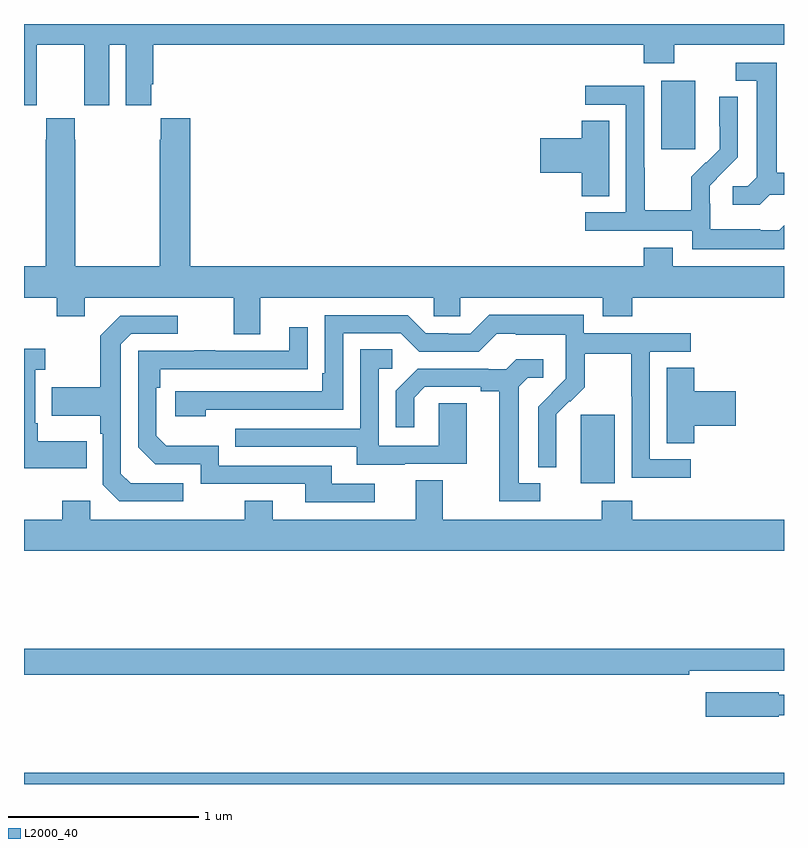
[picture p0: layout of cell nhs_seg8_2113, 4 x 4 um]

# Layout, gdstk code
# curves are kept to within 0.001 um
import gdstk
lib = gdstk.Library(unit=1e-6, precision=1e-09)
def R(c, l, rs):  # rectangles x0, y0, x1, y1
    for r in rs: c.add(gdstk.rectangle(r[:2], r[2:], *l))
def P(c, l, *ps):  # polygons
    for p in ps: c.add(gdstk.Polygon(p, *l))
L2000_40 = (2000, 40)

nhs_seg8_2113 = lib.new_cell('nhs_seg8_2113')
R(nhs_seg8_2113, L2000_40, [(243,1153.9,247,1153.96), (245.93,1155.482,246.109,1155.843), (246.353,1157.241,246.532,1157.602)])
P(nhs_seg8_2113, L2000_40, [(243.066,1157.584),(243.067,1157.584),(243.067,1157.792),(243.317,1157.792),(243.317,1157.584),(243.318,1157.584),(243.318,1157.472),(243.448,1157.472),(243.448,1157.792),(243.536,1157.792),(243.536,1157.472),(243.67,1157.472),(243.67,1157.584),(243.68,1157.584),(243.68,1157.792),(246.263,1157.792),(246.263,1157.693),(246.423,1157.693),(246.423,1157.792),(247,1157.792),(247,1157.9),(243,1157.9),(243,1157.472),(243.066,1157.472)],
  [(246.924,1157.001),(247,1157.001),(247,1157.117),(246.961,1157.117),(246.961,1157.697),(246.747,1157.697),(246.747,1157.601),(246.857,1157.601),(246.857,1157.093),(246.81,1157.046),(246.729,1157.046),(246.729,1156.949),(246.872,1156.949)],
  [(247,1156.84),(246.975,1156.815),(246.875,1156.815),(246.875,1156.819),(246.612,1156.819),(246.612,1156.953),(246.61,1156.953),(246.61,1157.05),(246.756,1157.198),(246.756,1157.516),(246.66,1157.516),(246.66,1157.362),(246.662,1157.362),(246.662,1157.24),(246.591,1157.169),(246.588,1157.172),(246.511,1157.095),(246.511,1156.921),(246.267,1156.921),(246.267,1157.144),(246.264,1157.144),(246.264,1157.574),(245.955,1157.574),(245.955,1157.475),(246.168,1157.475),(246.168,1156.908),(245.955,1156.908),(245.955,1156.812),(246.516,1156.812),(246.516,1156.715),(247,1156.715)],
  [(244.243,1156.46),(245.157,1156.46),(245.157,1156.362),(245.295,1156.362),(245.295,1156.46),(246.047,1156.46),(246.047,1156.361),(246.2,1156.361),(246.2,1156.46),(247,1156.46),(247,1156.624),(246.415,1156.624),(246.415,1156.723),(246.263,1156.723),(246.263,1156.624),(243.875,1156.624),(243.875,1157.404),(243.721,1157.404),(243.721,1157.291),(243.715,1157.291),(243.715,1156.624),(243.27,1156.624),(243.27,1157.291),(243.267,1157.291),(243.267,1157.404),(243.117,1157.404),(243.117,1157.291),(243.115,1157.291),(243.115,1156.624),(243,1156.624),(243,1156.46),(243.172,1156.46),(243.172,1156.361),(243.319,1156.361),(243.319,1156.46),(244.103,1156.46),(244.103,1156.266),(244.243,1156.266)],
  [(246.079,1157.39),(245.936,1157.39),(245.936,1157.3),(245.718,1157.3),(245.718,1157.117),(245.936,1157.117),(245.936,1156.993),(246.079,1156.993)],
  [(246.508,1155.609),(246.294,1155.609),(246.294,1156.176),(246.508,1156.176),(246.508,1156.272),(245.946,1156.272),(245.946,1156.369),(245.449,1156.369),(245.349,1156.269),(245.234,1156.269),(245.234,1156.272),(245.115,1156.272),(245.019,1156.368),(244.584,1156.368),(244.584,1156.063),(244.571,1156.063),(244.571,1155.966),(243.795,1155.966),(243.795,1155.836),(243.956,1155.836),(243.956,1155.87),(244.68,1155.87),(244.68,1156.272),(244.983,1156.272),(245.079,1156.176),(245.394,1156.176),(245.487,1156.269),(245.587,1156.269),(245.587,1156.265),(245.85,1156.265),(245.85,1156.131),(245.852,1156.131),(245.852,1156.034),(245.706,1155.886),(245.706,1155.568),(245.802,1155.568),(245.801,1155.845),(245.871,1155.915),(245.874,1155.912),(245.951,1155.989),(245.951,1156.164),(246.196,1156.164),(246.196,1155.94),(246.198,1155.94),(246.198,1155.511),(246.508,1155.511)],
  [(243.838,1155.483),(243.561,1155.483),(243.51,1155.534),(243.51,1156.215),(243.564,1156.269),(243.808,1156.269),(243.808,1156.365),(243.507,1156.365),(243.402,1156.259),(243.402,1155.987),(243.145,1155.987),(243.145,1155.839),(243.402,1155.839),(243.402,1155.743),(243.414,1155.743),(243.414,1155.474),(243.501,1155.387),(243.838,1155.387)],
  [(244.846,1155.48),(244.621,1155.48),(244.621,1155.576),(244.026,1155.576),(244.026,1155.679),(243.749,1155.679),(243.696,1155.732),(243.696,1155.986),(243.716,1155.986),(243.716,1156.083),(244.493,1156.084),(244.493,1156.303),(244.397,1156.303),(244.397,1156.179),(244.007,1156.179),(244.007,1156.184),(243.895,1156.184),(243.895,1156.179),(243.6,1156.179),(243.6,1155.672),(243.69,1155.582),(243.93,1155.582),(243.93,1155.48),(244.481,1155.48),(244.481,1155.384),(244.846,1155.384)],
  [(243.329,1155.703),(243.073,1155.703),(243.073,1155.799),(243.06,1155.799),(243.06,1156.079),(243.112,1156.079),(243.112,1156.192),(243,1156.192),(243,1155.563),(243.329,1155.563)],
  [(245.005,1155.585),(245.329,1155.585),(245.329,1155.905),(245.184,1155.905),(245.184,1155.681),(244.866,1155.681),(244.866,1156.086),(244.939,1156.086),(244.939,1156.187),(244.77,1156.187),(244.77,1155.771),(244.111,1155.771),(244.111,1155.675),(244.751,1155.675),(244.751,1155.581),(245.005,1155.581)],
  [(245.716,1155.483),(245.605,1155.483),(245.605,1155.991),(245.652,1156.038),(245.734,1156.038),(245.734,1156.135),(245.59,1156.135),(245.538,1156.083),(245.444,1156.083),(245.444,1156.086),(245.072,1156.086),(244.956,1155.97),(244.956,1155.777),(245.053,1155.777),(245.053,1155.933),(245.11,1155.99),(245.405,1155.99),(245.405,1155.968),(245.501,1155.968),(245.501,1155.387),(245.716,1155.387)],
  [(246.527,1155.785),(246.745,1155.785),(246.745,1155.968),(246.527,1155.968),(246.527,1156.091),(246.383,1156.091),(246.383,1155.694),(246.527,1155.694)],
  [(247,1155.292),(246.2,1155.292),(246.2,1155.391),(246.04,1155.391),(246.04,1155.292),(245.203,1155.292),(245.203,1155.5),(245.063,1155.5),(245.063,1155.292),(244.309,1155.292),(244.309,1155.391),(244.162,1155.391),(244.162,1155.292),(243.348,1155.292),(243.348,1155.391),(243.202,1155.391),(243.202,1155.292),(243,1155.292),(243,1155.128),(247,1155.128)],
  [(246.5,1154.496),(247,1154.496),(247,1154.612),(243,1154.612),(243,1154.476),(246.5,1154.476)],
  [(246.972,1154.262),(247,1154.262),(247,1154.37),(246.972,1154.37),(246.972,1154.383),(246.588,1154.383),(246.588,1154.254),(246.972,1154.254)])

lib.write_gds('nhs_seg8_2113.gds')
